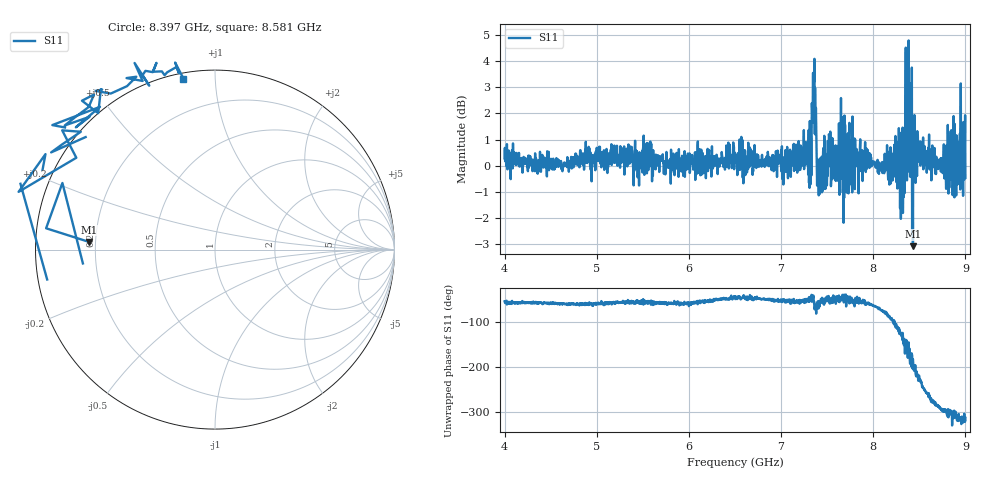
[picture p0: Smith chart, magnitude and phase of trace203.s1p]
! Created with skrf 1.8.0 (http://scikit-rf.org).
# Hz S RI R 50.0
!freq ReS11 ImS11
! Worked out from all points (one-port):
!   1601 points, 4 GHz to 9 GHz, reference 50 ohm
!   lowest |S11| = -3.1 dB at 8.431 GHz (marker M1), VSWR 5.69, Z = 8.79 + j1.46 ohm
!   |S11| at or under -10 dB: nowhere
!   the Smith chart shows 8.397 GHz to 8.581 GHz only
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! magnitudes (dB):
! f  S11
! 4 GHz  0.3
! 4.625 GHz  -0.2
! 5.25 GHz  0.1
! 5.875 GHz  -0.1
! 6.5 GHz  0.5
! 7.125 GHz  0.3
! 7.303 GHz  -0.7
! 7.356 GHz  3.3
! 7.412 GHz  -0.7
! 7.534 GHz  1.3
! 7.616 GHz  -0.6
! 7.669 GHz  1.9
! 7.703 GHz  0.6
! 7.75 GHz  0.0
! 8.188 GHz  0.7
! 8.262 GHz  -0.9
! 8.316 GHz  1.2
! 8.328 GHz  0.6
! 8.375 GHz  2.6
! 8.381 GHz  0.9
! 8.394 GHz  1.4
! 8.412 GHz  1.2
! 8.431 GHz  -3.1
! 8.447 GHz  1.9
! 8.459 GHz  -0.7
! 8.766 GHz  0.8
! 8.972 GHz  -0.1
! 9 GHz  -0.5
